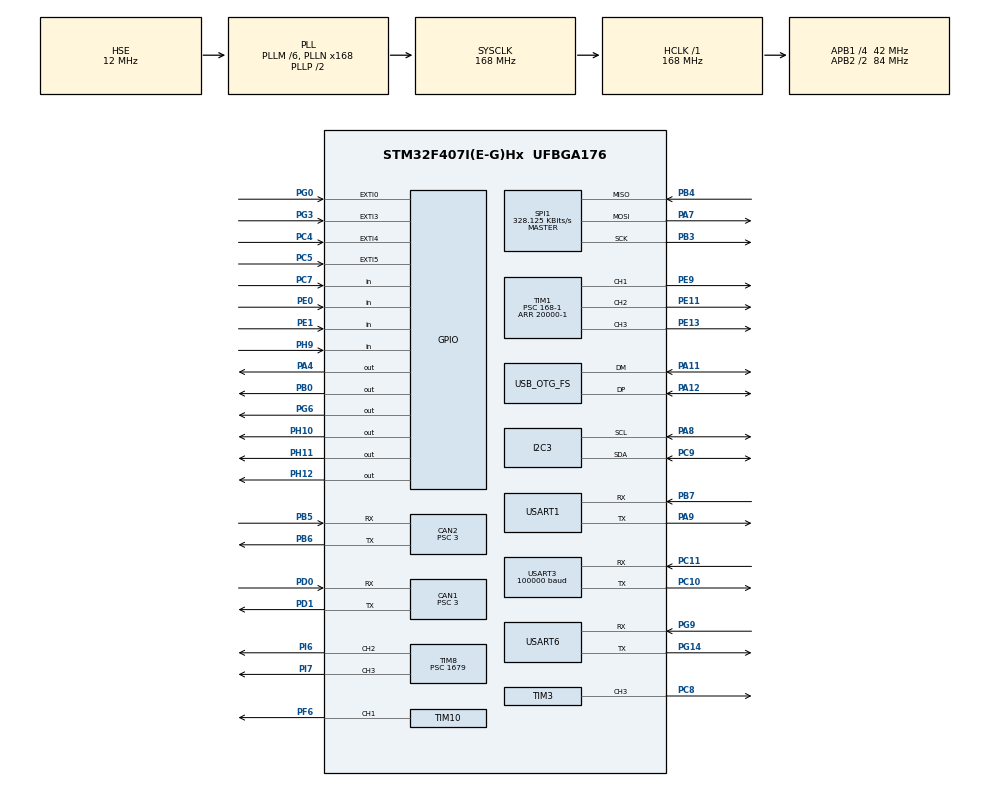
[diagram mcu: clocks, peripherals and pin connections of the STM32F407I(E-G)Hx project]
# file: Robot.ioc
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CAN1.BS1=CAN_BS1_10TQ
CAN1.BS2=CAN_BS2_3TQ
CAN1.CalculateBaudRate=1000000
CAN1.CalculateTimeBit=1000
CAN1.CalculateTimeQuantum=71.42857142857143
CAN1.NART=ENABLE
CAN1.Prescaler=3
CAN1.SJW=CAN_SJW_1TQ
CAN2.BS1=CAN_BS1_10TQ
CAN2.BS2=CAN_BS2_3TQ
CAN2.CalculateBaudRate=1000000
CAN2.CalculateTimeBit=1000
CAN2.CalculateTimeQuantum=71.42857142857143
CAN2.Prescaler=3
Dma.Request0=SPI1_RX
Dma.Request1=SPI1_TX
Dma.Request2=USART3_RX
Dma.Request3=USART6_RX
Dma.Request4=USART6_TX
Dma.Request5=USART1_RX
Dma.Request6=USART1_TX
Dma.SPI1_RX.0.Direction=DMA_PERIPH_TO_MEMORY
Dma.SPI1_RX.0.FIFOMode=DMA_FIFOMODE_DISABLE
Dma.SPI1_RX.0.Instance=DMA2_Stream2
Dma.SPI1_RX.0.MemDataAlignment=DMA_MDATAALIGN_BYTE
Dma.SPI1_RX.0.MemInc=DMA_MINC_ENABLE
Dma.SPI1_RX.0.Mode=DMA_NORMAL
Dma.SPI1_RX.0.PeriphDataAlignment=DMA_PDATAALIGN_BYTE
Dma.SPI1_RX.0.PeriphInc=DMA_PINC_DISABLE
Dma.SPI1_RX.0.Priority=DMA_PRIORITY_VERY_HIGH
Dma.SPI1_TX.1.Direction=DMA_MEMORY_TO_PERIPH
Dma.SPI1_TX.1.FIFOMode=DMA_FIFOMODE_DISABLE
Dma.SPI1_TX.1.Instance=DMA2_Stream3
Dma.SPI1_TX.1.MemDataAlignment=DMA_MDATAALIGN_BYTE
Dma.SPI1_TX.1.MemInc=DMA_MINC_ENABLE
Dma.SPI1_TX.1.Mode=DMA_NORMAL
Dma.SPI1_TX.1.PeriphDataAlignment=DMA_PDATAALIGN_BYTE
Dma.SPI1_TX.1.PeriphInc=DMA_PINC_DISABLE
Dma.SPI1_TX.1.Priority=DMA_PRIORITY_HIGH
Dma.USART1_RX.5.Direction=DMA_PERIPH_TO_MEMORY
Dma.USART1_RX.5.FIFOMode=DMA_FIFOMODE_DISABLE
Dma.USART1_RX.5.Instance=DMA2_Stream5
Dma.USART1_RX.5.MemDataAlignment=DMA_MDATAALIGN_BYTE
Dma.USART1_RX.5.MemInc=DMA_MINC_ENABLE
Dma.USART1_RX.5.Mode=DMA_NORMAL
Dma.USART1_RX.5.PeriphDataAlignment=DMA_PDATAALIGN_BYTE
Dma.USART1_RX.5.PeriphInc=DMA_PINC_DISABLE
Dma.USART1_RX.5.Priority=DMA_PRIORITY_HIGH
Dma.USART1_TX.6.Direction=DMA_MEMORY_TO_PERIPH
Dma.USART1_TX.6.FIFOMode=DMA_FIFOMODE_DISABLE
Dma.USART1_TX.6.Instance=DMA2_Stream7
Dma.USART1_TX.6.MemDataAlignment=DMA_MDATAALIGN_BYTE
Dma.USART1_TX.6.MemInc=DMA_MINC_ENABLE
Dma.USART1_TX.6.Mode=DMA_NORMAL
Dma.USART1_TX.6.PeriphDataAlignment=DMA_PDATAALIGN_BYTE
Dma.USART1_TX.6.PeriphInc=DMA_PINC_DISABLE
Dma.USART1_TX.6.Priority=DMA_PRIORITY_VERY_HIGH
Dma.USART3_RX.2.Direction=DMA_PERIPH_TO_MEMORY
Dma.USART3_RX.2.FIFOMode=DMA_FIFOMODE_DISABLE
Dma.USART3_RX.2.Instance=DMA1_Stream1
Dma.USART3_RX.2.MemDataAlignment=DMA_MDATAALIGN_BYTE
Dma.USART3_RX.2.MemInc=DMA_MINC_ENABLE
Dma.USART3_RX.2.Mode=DMA_NORMAL
Dma.USART3_RX.2.PeriphDataAlignment=DMA_PDATAALIGN_BYTE
Dma.USART3_RX.2.PeriphInc=DMA_PINC_DISABLE
Dma.USART3_RX.2.Priority=DMA_PRIORITY_LOW
Dma.USART6_RX.3.Direction=DMA_PERIPH_TO_MEMORY
Dma.USART6_RX.3.FIFOMode=DMA_FIFOMODE_DISABLE
Dma.USART6_RX.3.Instance=DMA2_Stream1
Dma.USART6_RX.3.MemDataAlignment=DMA_MDATAALIGN_BYTE
Dma.USART6_RX.3.MemInc=DMA_MINC_ENABLE
Dma.USART6_RX.3.Mode=DMA_NORMAL
Dma.USART6_RX.3.PeriphDataAlignment=DMA_PDATAALIGN_BYTE
Dma.USART6_RX.3.PeriphInc=DMA_PINC_DISABLE
Dma.USART6_RX.3.Priority=DMA_PRIORITY_HIGH
Dma.USART6_TX.4.Direction=DMA_MEMORY_TO_PERIPH
Dma.USART6_TX.4.FIFOMode=DMA_FIFOMODE_DISABLE
Dma.USART6_TX.4.Instance=DMA2_Stream6
Dma.USART6_TX.4.MemDataAlignment=DMA_MDATAALIGN_BYTE
Dma.USART6_TX.4.MemInc=DMA_MINC_ENABLE
Dma.USART6_TX.4.Mode=DMA_NORMAL
Dma.USART6_TX.4.PeriphDataAlignment=DMA_PDATAALIGN_BYTE
Dma.USART6_TX.4.PeriphInc=DMA_PINC_DISABLE
Dma.USART6_TX.4.Priority=DMA_PRIORITY_HIGH
FREERTOS.INCLUDE_eTaskGetState=1
FREERTOS.INCLUDE_pcTaskGetTaskName=1
FREERTOS.INCLUDE_uxTaskGetStackHighWaterMark=1
FREERTOS.INCLUDE_vTaskCleanUpResources=1
FREERTOS.INCLUDE_vTaskDelayUntil=1
FREERTOS.INCLUDE_xEventGroupSetBitFromISR=1
FREERTOS.INCLUDE_xQueueGetMutexHolder=1
FREERTOS.INCLUDE_xSemaphoreGetMutexHolder=1
FREERTOS.INCLUDE_xTaskAbortDelay=1
FREERTOS.INCLUDE_xTaskGetCurrentTaskHandle=1
FREERTOS.INCLUDE_xTaskGetHandle=1
FREERTOS.INCLUDE_xTimerPendFunctionCall=1
FREERTOS.Tasks01=INS_TASK,3,512,INS_Task,As weak,NULL,Dynamic,NULL,NULL;LED_TASK,0,128,LED_Task,As weak,NULL,Dynamic,NULL,NULL;Chassis_TASK,1,512,Chassis_Task,As weak,NULL,Dynamic,NULL,NULL;Gimbal_TASK,2,512,Gimbal_Task,As weak,NULL,Dynamic,NULL,NULL;Shoot_TASK,0,512,Shoot_Task,As weak,NULL,Dynamic,NULL,NULL;referee_usart,1,512,referee_usart_task,As weak,NULL,Dynamic,NULL,NULL;SWITCH_TASK,0,128,Switch_Task,As weak,NULL,Dynamic,NULL,NULL;EAR_TASK,-2,128,Ear_Task,As weak,NULL,Dynamic,NULL,NULL;Usb_task,3,256,usb_task,As weak,NULL,Dynamic,NULL,NULL
FREERTOS.configTOTAL_HEAP_SIZE=24576
FREERTOS.configUSE_TIMERS=1
I2C3.I2C_Mode=I2C_Fast
Mcu.Family=STM32F4
Mcu.Name=STM32F407I(E-G)Hx
Mcu.Package=UFBGA176
NVIC.CAN1_RX0_IRQn=true\:5\:0\:false\:false\:true\:true\:true\:true\:true
NVIC.CAN2_RX0_IRQn=true\:5\:0\:false\:false\:true\:true\:true\:true\:true
NVIC.DMA1_Stream1_IRQn=true\:5\:0\:false\:false\:true\:true\:false\:true\:true
NVIC.DMA2_Stream1_IRQn=true\:5\:0\:false\:false\:true\:true\:false\:true\:true
NVIC.DMA2_Stream2_IRQn=true\:5\:0\:false\:false\:true\:true\:false\:true\:true
NVIC.DMA2_Stream3_IRQn=true\:5\:0\:false\:false\:true\:true\:false\:true\:true
NVIC.DMA2_Stream5_IRQn=true\:5\:0\:false\:false\:true\:true\:false\:true\:true
NVIC.DMA2_Stream6_IRQn=true\:5\:0\:false\:false\:true\:true\:false\:true\:true
NVIC.DMA2_Stream7_IRQn=true\:5\:0\:false\:false\:true\:true\:false\:true\:true
NVIC.EXTI0_IRQn=true\:5\:0\:false\:false\:true\:true\:true\:true\:true
NVIC.EXTI3_IRQn=true\:5\:0\:false\:false\:true\:true\:true\:true\:true
NVIC.EXTI4_IRQn=true\:5\:0\:false\:false\:true\:true\:true\:true\:true
NVIC.EXTI9_5_IRQn=true\:5\:0\:false\:false\:true\:true\:true\:true\:true
NVIC.OTG_FS_IRQn=true\:5\:0\:false\:false\:true\:true\:false\:true\:true
NVIC.PriorityGroup=NVIC_PRIORITYGROUP_4
NVIC.TIM2_IRQn=true\:15\:0\:false\:false\:true\:false\:false\:true\:true
NVIC.TIM8_TRG_COM_TIM14_IRQn=true\:5\:0\:false\:false\:true\:true\:true\:true\:true
NVIC.TimeBase=TIM2_IRQn
NVIC.TimeBaseIP=TIM2
NVIC.USART1_IRQn=true\:5\:0\:false\:false\:true\:true\:true\:true\:true
NVIC.USART3_IRQn=true\:5\:0\:false\:false\:true\:true\:true\:true\:true
NVIC.USART6_IRQn=true\:5\:0\:false\:false\:true\:true\:true\:true\:true
PA11.Mode=Device_Only
PA11.Signal=USB_OTG_FS_DM
PA12.Mode=Device_Only
PA12.Signal=USB_OTG_FS_DP
PA13.Mode=Serial_Wire
PA13.Signal=SYS_JTMS-SWDIO
PA14.Mode=Serial_Wire
PA14.Signal=SYS_JTCK-SWCLK
PA4.GPIO_PuPd=GPIO_PULLUP
PA4.GPIO_Speed=GPIO_SPEED_FREQ_HIGH
PA4.PinState=GPIO_PIN_SET
PA4.Signal=GPIO_Output
PA7.GPIO_Mode=GPIO_MODE_AF_PP
PA7.GPIO_PuPd=GPIO_PULLUP
PA7.GPIO_Speed=GPIO_SPEED_FREQ_VERY_HIGH
PA7.Mode=Full_Duplex_Master
PA7.Signal=SPI1_MOSI
PA8.GPIO_Mode=GPIO_MODE_AF_OD
PA8.GPIO_Pu=GPIO_PULLUP
PA8.GPIO_Speed=GPIO_SPEED_FREQ_VERY_HIGH
PA8.Mode=I2C
PA8.Signal=I2C3_SCL
PA9.Mode=Asynchronous
PA9.Signal=USART1_TX
PB0.GPIO_ModeDefaultOutputPP=GPIO_MODE_OUTPUT_PP
PB0.GPIO_PuPd=GPIO_PULLUP
PB0.GPIO_Speed=GPIO_SPEED_FREQ_HIGH
PB0.PinState=GPIO_PIN_SET
PB0.Signal=GPIO_Output
PB14.GPIO_ModeDefaultPP=GPIO_MODE_AF_PP
PB14.GPIO_PuPd=GPIO_PULLUP
PB14.GPIO_Speed=GPIO_SPEED_FREQ_VERY_HIGH
PB14.Signal=S_TIM12_CH1
PB15.GPIO_ModeDefaultPP=GPIO_MODE_AF_PP
PB15.GPIO_PuPd=GPIO_PULLUP
PB15.GPIO_Speed=GPIO_SPEED_FREQ_VERY_HIGH
PB15.Signal=S_TIM12_CH2
PB3.GPIO_Mode=GPIO_MODE_AF_PP
PB3.GPIO_PuPd=GPIO_PULLUP
PB3.GPIO_Speed=GPIO_SPEED_FREQ_VERY_HIGH
PB3.Mode=Full_Duplex_Master
PB3.Signal=SPI1_SCK
PB4.GPIO_Mode=GPIO_MODE_AF_PP
PB4.GPIO_PuPd=GPIO_PULLUP
PB4.GPIO_Speed=GPIO_SPEED_FREQ_VERY_HIGH
PB4.Mode=Full_Duplex_Master
PB4.Signal=SPI1_MISO
PB5.Mode=CAN_Activate
PB5.Signal=CAN2_RX
PB6.Mode=CAN_Activate
PB6.Signal=CAN2_TX
PB7.Mode=Asynchronous
PB7.Signal=USART1_RX
PC10.GPIO_ModeDefaultPP=GPIO_MODE_AF_PP
PC10.GPIO_PuPd=GPIO_PULLUP
PC10.GPIO_Speed=GPIO_SPEED_FREQ_VERY_HIGH
PC10.Mode=Asynchronous
PC10.Signal=USART3_TX
PC11.GPIO_ModeDefaultPP=GPIO_MODE_AF_PP
PC11.GPIO_PuPd=GPIO_PULLUP
PC11.GPIO_Speed=GPIO_SPEED_FREQ_VERY_HIGH
PC11.Mode=Asynchronous
PC11.Signal=USART3_RX
PC4.GPIO_ModeDefaultEXTI=GPIO_MODE_IT_FALLING
PC4.GPIO_PuPd=GPIO_PULLUP
PC4.Signal=GPXTI4
PC5.GPIO_ModeDefaultEXTI=GPIO_MODE_IT_FALLING
PC5.GPIO_PuPd=GPIO_PULLUP
PC5.Signal=GPXTI5
PC7.GPIO_PuPd=GPIO_PULLDOWN
PC7.Signal=GPIO_Input
PC8.GPIO_ModeDefaultPP=GPIO_MODE_AF_PP
PC8.GPIO_PuPd=GPIO_PULLUP
PC8.GPIO_Speed=GPIO_SPEED_FREQ_VERY_HIGH
PC8.Signal=S_TIM3_CH3
PC9.GPIO_Mode=GPIO_MODE_AF_OD
PC9.GPIO_Pu=GPIO_PULLUP
PC9.GPIO_Speed=GPIO_SPEED_FREQ_VERY_HIGH
PC9.Mode=I2C
PC9.Signal=I2C3_SDA
PD0.Mode=CAN_Activate
PD0.Signal=CAN1_RX
PD1.Mode=CAN_Activate
PD1.Signal=CAN1_TX
PE0.GPIO_PuPd=GPIO_PULLDOWN
PE0.Signal=GPIO_Input
PE1.GPIO_PuPd=GPIO_PULLDOWN
PE1.Signal=GPIO_Input
PE11.GPIO_ModeDefaultPP=GPIO_MODE_AF_PP
PE11.GPIO_PuPd=GPIO_PULLUP
PE11.GPIO_Speed=GPIO_SPEED_FREQ_VERY_HIGH
PE11.Signal=S_TIM1_CH2
PE13.GPIO_PuPd=GPIO_PULLUP
PE13.GPIO_Speed=GPIO_SPEED_FREQ_VERY_HIGH
PE13.Signal=S_TIM1_CH3
PE9.GPIO_ModeDefaultPP=GPIO_MODE_AF_PP
PE9.GPIO_PuPd=GPIO_PULLUP
PE9.GPIO_Speed=GPIO_SPEED_FREQ_VERY_HIGH
PE9.Signal=S_TIM1_CH1
PF6.GPIO_PuPd=GPIO_PULLUP
PF6.GPIO_Speed=GPIO_SPEED_FREQ_VERY_HIGH
PF6.Signal=S_TIM10_CH1
PG0.GPIO_ModeDefaultEXTI=GPIO_MODE_IT_FALLING
PG0.GPIO_PuPd=GPIO_PULLUP
PG0.Signal=GPXTI0
PG14.GPIO_ModeDefaultPP=GPIO_MODE_AF_PP
PG14.GPIO_PuPd=GPIO_PULLUP
PG14.GPIO_Speed=GPIO_SPEED_FREQ_VERY_HIGH
PG14.Mode=Asynchronous
PG14.Signal=USART6_TX
PG3.GPIO_ModeDefaultEXTI=GPIO_MODE_IT_FALLING
PG3.GPIO_PuPd=GPIO_PULLUP
PG3.Signal=GPXTI3
PG6.GPIO_ModeDefaultOutputPP=GPIO_MODE_OUTPUT_PP
PG6.GPIO_PuPd=GPIO_PULLUP
PG6.GPIO_Speed=GPIO_SPEED_FREQ_HIGH
PG6.PinState=GPIO_PIN_SET
PG6.Signal=GPIO_Output
PG9.GPIO_ModeDefaultPP=GPIO_MODE_AF_PP
PG9.GPIO_PuPd=GPIO_PULLUP
PG9.GPIO_Speed=GPIO_SPEED_FREQ_VERY_HIGH
PG9.Mode=Asynchronous
PG9.Signal=USART6_RX
PH0-OSC_IN.Mode=HSE-External-Oscillator
PH0-OSC_IN.Signal=RCC_OSC_IN
PH1-OSC_OUT.Mode=HSE-External-Oscillator
PH1-OSC_OUT.Signal=RCC_OSC_OUT
PH10.GPIO_ModeDefaultOutputPP=GPIO_MODE_OUTPUT_PP
PH10.GPIO_PuPd=GPIO_PULLDOWN
PH10.GPIO_Speed=GPIO_SPEED_FREQ_VERY_HIGH
PH10.PinState=GPIO_PIN_RESET
PH10.Signal=GPIO_Output
PH11.GPIO_ModeDefaultOutputPP=GPIO_MODE_OUTPUT_PP
PH11.GPIO_PuPd=GPIO_PULLDOWN
PH11.GPIO_Speed=GPIO_SPEED_FREQ_VERY_HIGH
PH11.PinState=GPIO_PIN_RESET
PH11.Signal=GPIO_Output
PH12.GPIO_ModeDefaultOutputPP=GPIO_MODE_OUTPUT_PP
PH12.GPIO_PuPd=GPIO_PULLDOWN
PH12.GPIO_Speed=GPIO_SPEED_FREQ_VERY_HIGH
PH12.PinState=GPIO_PIN_RESET
PH12.Signal=GPIO_Output
PH9.GPIO_PuPd=GPIO_PULLDOWN
PH9.Signal=GPIO_Input
PI6.Signal=S_TIM8_CH2
PI7.Signal=S_TIM8_CH3
ProjectManager.HeapSize=0x2000
ProjectManager.StackSize=0x2000
ProjectManager.TargetToolchain=MDK-ARM V5
RCC.48MHZClocksFreq_Value=48000000
RCC.AHBFreq_Value=168000000
RCC.APB1CLKDivider=RCC_HCLK_DIV4
RCC.APB1Freq_Value=42000000
RCC.APB1TimFreq_Value=84000000
RCC.APB2CLKDivider=RCC_HCLK_DIV2
RCC.APB2Freq_Value=84000000
RCC.APB2TimFreq_Value=168000000
RCC.CortexFreq_Value=168000000
RCC.HCLKFreq_Value=168000000
RCC.HSE_VALUE=12000000
RCC.HSI_VALUE=16000000
RCC.LSE_VALUE=32768
RCC.PLLM=6
RCC.PLLN=168
RCC.PLLQ=7
RCC.SYSCLKFreq_VALUE=168000000
RCC.SYSCLKSource=RCC_SYSCLKSOURCE_PLLCLK
RCC.VCOOutputFreq_Value=336000000
SH.S_TIM10_CH1.0=TIM10_CH1,PWM Generation1 CH1
SH.S_TIM12_CH1.0=TIM12_CH1
SH.S_TIM12_CH2.0=TIM12_CH2
SH.S_TIM1_CH1.0=TIM1_CH1,PWM Generation1 CH1
SH.S_TIM1_CH2.0=TIM1_CH2,PWM Generation2 CH2
SH.S_TIM1_CH3.0=TIM1_CH3,PWM Generation3 CH3
SH.S_TIM3_CH3.0=TIM3_CH3,PWM Generation3 CH3
SH.S_TIM8_CH2.0=TIM8_CH2,PWM Generation2 CH2
SH.S_TIM8_CH3.0=TIM8_CH3,PWM Generation3 CH3
SPI1.BaudRatePrescaler=SPI_BAUDRATEPRESCALER_256
SPI1.CLKPhase=SPI_PHASE_2EDGE
SPI1.CLKPolarity=SPI_POLARITY_HIGH
SPI1.CalculateBaudRate=328.125 KBits/s
SPI1.Direction=SPI_DIRECTION_2LINES
SPI1.Mode=SPI_MODE_MASTER
SPI1.VirtualType=VM_MASTER
TIM1.AutoReloadPreload=TIM_AUTORELOAD_PRELOAD_DISABLE
TIM1.Channel-PWM\ Generation1\ CH1=TIM_CHANNEL_1
TIM1.Channel-PWM\ Generation2\ CH2=TIM_CHANNEL_2
TIM1.Channel-PWM\ Generation3\ CH3=TIM_CHANNEL_3
TIM1.Period=20000-1
TIM1.Prescaler=168-1
TIM10.Channel=TIM_CHANNEL_1
TIM10.Period=4999
TIM14.Period=2000-1
TIM14.Prescaler=84-1
TIM3.Channel-PWM\ Generation3\ CH3=TIM_CHANNEL_3
TIM3.Period=1000-1
TIM3.Prescaler=84-1
TIM8.Channel-PWM\ Generation2\ CH2=TIM_CHANNEL_2
TIM8.Channel-PWM\ Generation3\ CH3=TIM_CHANNEL_3
TIM8.Period=1999
TIM8.Prescaler=1679
USART1.VirtualMode=VM_ASYNC
USART3.BaudRate=100000
USART3.VirtualMode=VM_ASYNC
USART6.VirtualMode=VM_ASYNC
USB_DEVICE.CLASS_NAME_FS=CDC
USB_DEVICE.MANUFACTURER_STRING-CDC_FS=RM
USB_DEVICE.PID_CDC_FS=0x514
USB_DEVICE.PRODUCT_STRING_CDC_FS=Robot
USB_DEVICE.VID-CDC_FS=0x114
USB_DEVICE.VirtualMode-CDC_FS=Cdc
USB_DEVICE.VirtualModeFS=Cdc_FS
USB_OTG_FS.VirtualMode=Device_Only
VP_CRC_VS_CRC.Mode=CRC_Activate
VP_FREERTOS_VS_CMSIS_V1.Mode=CMSIS_V1
VP_SYS_VS_tim2.Mode=TIM2
VP_TIM10_VS_ClockSourceINT.Mode=Enable_Timer
VP_TIM14_VS_ClockSourceINT.Mode=Enable_Timer
VP_TIM3_VS_ClockSourceINT.Mode=Internal
VP_USB_DEVICE_VS_USB_DEVICE_CDC_FS.Mode=CDC_FS
board=custom

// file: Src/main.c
/* USER CODE BEGIN Header */
/**
  ******************************************************************************
  * @file           : main.c
  * @brief          : Main program body
  ******************************************************************************
  * @attention
  *
  * <h2><center>&copy; Copyright (c) 2021 STMicroelectronics.
  * All rights reserved.</center></h2>
  *
  * This software component is licensed by ST under Ultimate Liberty license
  * SLA0044, the "License"; You may not use this file except in compliance with
  * the License. You may obtain a copy of the License at:
  *                             www.st.com/SLA0044
  *
  ******************************************************************************
  */
/* USER CODE END Header */
#include "main.h"
#include "cmsis_os.h"
#include "can.h"
#include "crc.h"
#include "dma.h"
#include "i2c.h"
#include "spi.h"
#include "tim.h"
#include "usart.h"
#include "usb_device.h"
#include "gpio.h"

/* USER CODE BEGIN Includes */
#include "bsp_delay.h"
#include "remote_control.h"
#include "bsp_can.h"
#include "bsp_tim.h"
#include "referee.h"
#include "referee_usart_task.h"
#include "bsp_usb.h"
/* USER CODE END Includes */

void SystemClock_Config(void);
void MX_FREERTOS_Init(void);
/* USER CODE BEGIN PFP */
char* itoa(int num,char* str,int radix)
{
    char index[]="0123456789ABCDEFGHIJKLMNOPQRSTUVWXYZ";//索引表
    unsigned unum;//存放要转换的整数的绝对值,转换的整数可能是负数
    int i=0,j,k;//i用来指示设置字符串相应位，转换之后i其实就是字符串的长度；转换后顺序是逆序的，有正负的情况，k用来指示调整顺序的开始位置;j用来指示调整顺序时的交换。

    //获取要转换的整数的绝对值
    if(radix==10&&num<0)//要转换成十进制数并且是负数
    {
        unum=(unsigned)-num;//将num的绝对值赋给unum
        str[i++]='-';//在字符串最前面设置为'-'号，并且索引加1
    }
    else unum=(unsigned)num;//若是num为正，直接赋值给unum

    //转换部分，注意转换后是逆序的
    do
    {
        str[i++]=index[unum%(unsigned)radix];//取unum的最后一位，并设置为str对应位，指示索引加1
        unum/=radix;//unum去掉最后一位

    }while(unum);//直至unum为0退出循环

    str[i]='\0';//在字符串最后添加'\0'字符，c语言字符串以'\0'结束。

    //将顺序调整过来
    if(str[0]=='-') k=1;//如果是负数，符号不用调整，从符号后面开始调整
    else k=0;//不是负数，全部都要调整

    char temp;//临时变量，交换两个值时用到
    for(j=k;j<=(i-1)/2;j++)//头尾一一对称交换，i其实就是字符串的长度，索引最大值比长度少1
    {
        temp=str[j];//头部赋值给临时变量
        str[j]=str[i-1+k-j];//尾部赋值给头部
        str[i-1+k-j]=temp;//将临时变量的值(其实就是之前的头部值)赋给尾部
    }

    return str;//返回转换后的字符串

}

void Transmit_float(UART_HandleTypeDef *huart,float* data)
{
		HAL_UART_Transmit(huart,(const uint8_t *)data, sizeof(float) * 4,50);
		uint8_t tail[4] = {0x00, 0x00, 0x80, 0x7f};
		HAL_UART_Transmit(huart,tail,4,50);
}
/* USER CODE END PFP */

int main(void)
{

  /* MCU Configuration--------------------------------------------------------*/

  /* Reset of all peripherals, Initializes the Flash interface and the Systick. */
  HAL_Init();

  /* Configure the system clock */
  SystemClock_Config();

  /* Initialize all configured peripherals */
  MX_GPIO_Init();
  MX_DMA_Init();
  MX_I2C3_Init();
  MX_SPI1_Init();
  MX_TIM10_Init();
  MX_USART3_UART_Init();
  MX_CAN1_Init();
  MX_CAN2_Init();
  MX_TIM3_Init();
  MX_TIM14_Init();
  MX_USART6_UART_Init();
  MX_TIM1_Init();
  MX_CRC_Init();
  MX_TIM8_Init();
  MX_USART1_UART_Init();
  /* USER CODE BEGIN 2 */
	HAL_TIM_Base_Start_IT(&htim14);

	TIM1->CCR1=1000;
	TIM1->CCR2=1000;
	TIM1->CCR3=1500;//close,600open
	HAL_TIM_PWM_Start(&htim1, TIM_CHANNEL_1);
	HAL_TIM_PWM_Start(&htim1, TIM_CHANNEL_2);
	HAL_TIM_PWM_Start(&htim1, TIM_CHANNEL_3);

	TIM3->CCR3=1000;//open laser
	HAL_TIM_PWM_Start(&htim3, TIM_CHANNEL_3);

	HAL_TIM_PWM_Start(&htim10, TIM_CHANNEL_1);

	can_filter_init();
	delay_init();
	remote_control_init();

	fifo_s_init(&Referee_FIFO, Referee_FIFO_Buffer, REFEREE_FIFO_BUF_LENGTH);
	Referee_StructInit();
	Referee_UARTInit(Referee_Buffer[0], Referee_Buffer[1], REFEREE_USART_RX_BUF_LENGHT);
	usb_init();
  /* USER CODE END 2 */

  /* Call init function for freertos objects (in freertos.c) */
  MX_FREERTOS_Init();

  /* Start scheduler */
  osKernelStart();

  /* We should never get here as control is now taken by the scheduler */
  /* Infinite loop */
  while (1)
  {

  }
}

void SystemClock_Config(void)
{
  RCC_OscInitTypeDef RCC_OscInitStruct = {0};
  RCC_ClkInitTypeDef RCC_ClkInitStruct = {0};

  /** Configure the main internal regulator output voltage
  */
  __HAL_RCC_PWR_CLK_ENABLE();
  __HAL_PWR_VOLTAGESCALING_CONFIG(PWR_REGULATOR_VOLTAGE_SCALE1);

  /** Initializes the RCC Oscillators according to the specified parameters
  * in the RCC_OscInitTypeDef structure.
  */
  RCC_OscInitStruct.OscillatorType = RCC_OSCILLATORTYPE_HSE;
  RCC_OscInitStruct.HSEState = RCC_HSE_ON;
  RCC_OscInitStruct.PLL.PLLState = RCC_PLL_ON;
  RCC_OscInitStruct.PLL.PLLSource = RCC_PLLSOURCE_HSE;
  RCC_OscInitStruct.PLL.PLLM = 6;
  RCC_OscInitStruct.PLL.PLLN = 168;
  RCC_OscInitStruct.PLL.PLLP = RCC_PLLP_DIV2;
  RCC_OscInitStruct.PLL.PLLQ = 7;
  if (HAL_RCC_OscConfig(&RCC_OscInitStruct) != HAL_OK)
  {
    Error_Handler();
  }

  /** Initializes the CPU, AHB and APB buses clocks
  */
  RCC_ClkInitStruct.ClockType = RCC_CLOCKTYPE_HCLK|RCC_CLOCKTYPE_SYSCLK
                              |RCC_CLOCKTYPE_PCLK1|RCC_CLOCKTYPE_PCLK2;
  RCC_ClkInitStruct.SYSCLKSource = RCC_SYSCLKSOURCE_PLLCLK;
  RCC_ClkInitStruct.AHBCLKDivider = RCC_SYSCLK_DIV1;
  RCC_ClkInitStruct.APB1CLKDivider = RCC_HCLK_DIV4;
  RCC_ClkInitStruct.APB2CLKDivider = RCC_HCLK_DIV2;

  if (HAL_RCC_ClockConfig(&RCC_ClkInitStruct, FLASH_LATENCY_5) != HAL_OK)
  {
    Error_Handler();
  }
}

void HAL_TIM_PeriodElapsedCallback(TIM_HandleTypeDef *htim)
{
  if (htim->Instance == TIM2) {
    HAL_IncTick();
  }
  /* USER CODE BEGIN Callback 1 */
	else if(htim->Instance==TIM14)
	{

	}
  /* USER CODE END Callback 1 */
}

void Error_Handler(void)
{
  __disable_irq();
  while (1)
  {
  }
}

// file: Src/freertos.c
/* USER CODE BEGIN Header */
/**
  ******************************************************************************
  * File Name          : freertos.c
  * Description        : Code for freertos applications
  ******************************************************************************
  * @attention
  *
  * <h2><center>&copy; Copyright (c) 2021 STMicroelectronics.
  * All rights reserved.</center></h2>
  *
  * This software component is licensed by ST under Ultimate Liberty license
  * SLA0044, the "License"; You may not use this file except in compliance with
  * the License. You may obtain a copy of the License at:
  *                             www.st.com/SLA0044
  *
  ******************************************************************************
  */
/* USER CODE END Header */

#include "FreeRTOS.h"
#include "task.h"
#include "main.h"
#include "cmsis_os.h"

/* USER CODE BEGIN Includes */
#include "INS_task.h"
#include "LED_Task.h"
#include "Chassis_Task.h"
#include "Gimbal_Task.h"
#include "Shoot_Task.h"
#include "Switch_Task.h"
#include "Usb_Task.h"
/* USER CODE END Includes */

osThreadId INS_TASKHandle;
osThreadId LED_TASKHandle;
osThreadId Chassis_TASKHandle;
osThreadId Gimbal_TASKHandle;
osThreadId Shoot_TASKHandle;
osThreadId referee_usartHandle;
osThreadId SWITCH_TASKHandle;
osThreadId EAR_TASKHandle;
osThreadId Usb_taskHandle;

void INS_Task(void const * argument);
void LED_Task(void const * argument);
void Chassis_Task(void const * argument);
void Gimbal_Task(void const * argument);
void Shoot_Task(void const * argument);
void referee_usart_task(void const * argument);
void Switch_Task(void const * argument);
void Ear_Task(void const * argument);
void usb_task(void const * argument);

extern void MX_USB_DEVICE_Init(void);
void MX_FREERTOS_Init(void); /* (MISRA C 2004 rule 8.1) */

/* GetIdleTaskMemory prototype (linked to static allocation support) */
void vApplicationGetIdleTaskMemory( StaticTask_t **ppxIdleTaskTCBBuffer, StackType_t **ppxIdleTaskStackBuffer, uint32_t *pulIdleTaskStackSize );

/* GetTimerTaskMemory prototype (linked to static allocation support) */
void vApplicationGetTimerTaskMemory( StaticTask_t **ppxTimerTaskTCBBuffer, StackType_t **ppxTimerTaskStackBuffer, uint32_t *pulTimerTaskStackSize );

/* USER CODE BEGIN GET_IDLE_TASK_MEMORY */
static StaticTask_t xIdleTaskTCBBuffer;
static StackType_t xIdleStack[configMINIMAL_STACK_SIZE];

void vApplicationGetIdleTaskMemory( StaticTask_t **ppxIdleTaskTCBBuffer, StackType_t **ppxIdleTaskStackBuffer, uint32_t *pulIdleTaskStackSize )
{
  *ppxIdleTaskTCBBuffer = &xIdleTaskTCBBuffer;
  *ppxIdleTaskStackBuffer = &xIdleStack[0];
  *pulIdleTaskStackSize = configMINIMAL_STACK_SIZE;
  /* place for user code */
}
/* USER CODE END GET_IDLE_TASK_MEMORY */

/* USER CODE BEGIN GET_TIMER_TASK_MEMORY */
static StaticTask_t xTimerTaskTCBBuffer;
static StackType_t xTimerStack[configTIMER_TASK_STACK_DEPTH];

void vApplicationGetTimerTaskMemory( StaticTask_t **ppxTimerTaskTCBBuffer, StackType_t **ppxTimerTaskStackBuffer, uint32_t *pulTimerTaskStackSize )
{
  *ppxTimerTaskTCBBuffer = &xTimerTaskTCBBuffer;
  *ppxTimerTaskStackBuffer = &xTimerStack[0];
  *pulTimerTaskStackSize = configTIMER_TASK_STACK_DEPTH;
  /* place for user code */
}
/* USER CODE END GET_TIMER_TASK_MEMORY */

void MX_FREERTOS_Init(void) {

  /* Create the thread(s) */
  /* definition and creation of INS_TASK */
  osThreadDef(INS_TASK, INS_Task, osPriorityRealtime, 0, 512);
  INS_TASKHandle = osThreadCreate(osThread(INS_TASK), NULL);

  /* definition and creation of LED_TASK */
  osThreadDef(LED_TASK, LED_Task, osPriorityNormal, 0, 128);
  LED_TASKHandle = osThreadCreate(osThread(LED_TASK), NULL);

  /* definition and creation of Chassis_TASK */
  osThreadDef(Chassis_TASK, Chassis_Task, osPriorityAboveNormal, 0, 512);
  Chassis_TASKHandle = osThreadCreate(osThread(Chassis_TASK), NULL);

  /* definition and creation of Gimbal_TASK */
  osThreadDef(Gimbal_TASK, Gimbal_Task, osPriorityHigh, 0, 512);
  Gimbal_TASKHandle = osThreadCreate(osThread(Gimbal_TASK), NULL);

  /* definition and creation of Shoot_TASK */
  osThreadDef(Shoot_TASK, Shoot_Task, osPriorityNormal, 0, 512);
  Shoot_TASKHandle = osThreadCreate(osThread(Shoot_TASK), NULL);

  /* definition and creation of referee_usart */
  osThreadDef(referee_usart, referee_usart_task, osPriorityAboveNormal, 0, 512);
  referee_usartHandle = osThreadCreate(osThread(referee_usart), NULL);

  /* definition and creation of SWITCH_TASK */
  osThreadDef(SWITCH_TASK, Switch_Task, osPriorityNormal, 0, 128);
  SWITCH_TASKHandle = osThreadCreate(osThread(SWITCH_TASK), NULL);

  /* definition and creation of EAR_TASK */
  osThreadDef(EAR_TASK, Ear_Task, osPriorityLow, 0, 128);
  EAR_TASKHandle = osThreadCreate(osThread(EAR_TASK), NULL);

  /* definition and creation of Usb_task */
  osThreadDef(Usb_task, usb_task, osPriorityRealtime, 0, 256);
  Usb_taskHandle = osThreadCreate(osThread(Usb_task), NULL);

}

__weak void INS_Task(void const * argument)
{
  /* init code for USB_DEVICE */
  MX_USB_DEVICE_Init();
  for(;;)
  {
    osDelay(1);
  }
}

__weak void LED_Task(void const * argument)
{
  /* USER CODE BEGIN LED_Task */
  /* Infinite loop */
  for(;;)
  {
    vTaskDelay(2);
  }
  /* USER CODE END LED_Task */
}

__weak void Chassis_Task(void const * argument)
{
  for(;;)
  {
    osDelay(1);
  }
}

__weak void Gimbal_Task(void const * argument)
{
  for(;;)
  {
    osDelay(1);
  }
}

__weak void Shoot_Task(void const * argument)
{
  for(;;)
  {
    osDelay(1);
  }
}

__weak void referee_usart_task(void const * argument)
{
  for(;;)
  {
    osDelay(1);
  }
}

__weak void Switch_Task(void const * argument)
{
  for(;;)
  {
    osDelay(1);
  }
}

__weak void Ear_Task(void const * argument)
{
  for(;;)
  {
    osDelay(1);
  }
}

__weak void usb_task(void const * argument)
{
  for(;;)
  {
    osDelay(1);
  }
}
